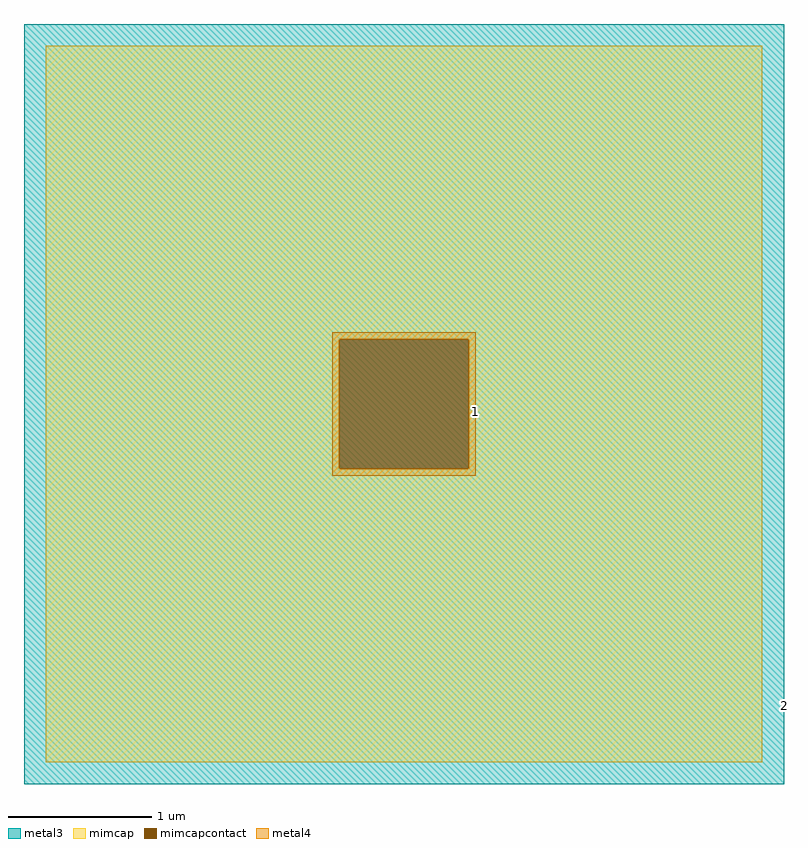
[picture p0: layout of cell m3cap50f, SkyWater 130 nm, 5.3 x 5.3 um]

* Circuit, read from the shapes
.subckt m3cap50f 1 2
XC1 1 2 sky130_fd_pr__cap_mim_m3_1 w=5 l=5
.ends

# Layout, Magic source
magic
tech sky130A
<< metal3 >>
rect -115 -15 415 515
<< mimcap >>
rect -100 295 400 500
rect -100 205 105 295
rect 195 205 400 295
rect -100 0 400 205
<< mimcapcontact >>
rect 105 205 195 295
<< metal4 >>
rect 100 295 200 300
rect 100 205 105 295
rect 195 205 200 295
rect 100 200 200 205
<< labels >>
rlabel metal3 415 40 415 40 3 2
rlabel metal4 200 245 200 245 3 1
<< end >>
